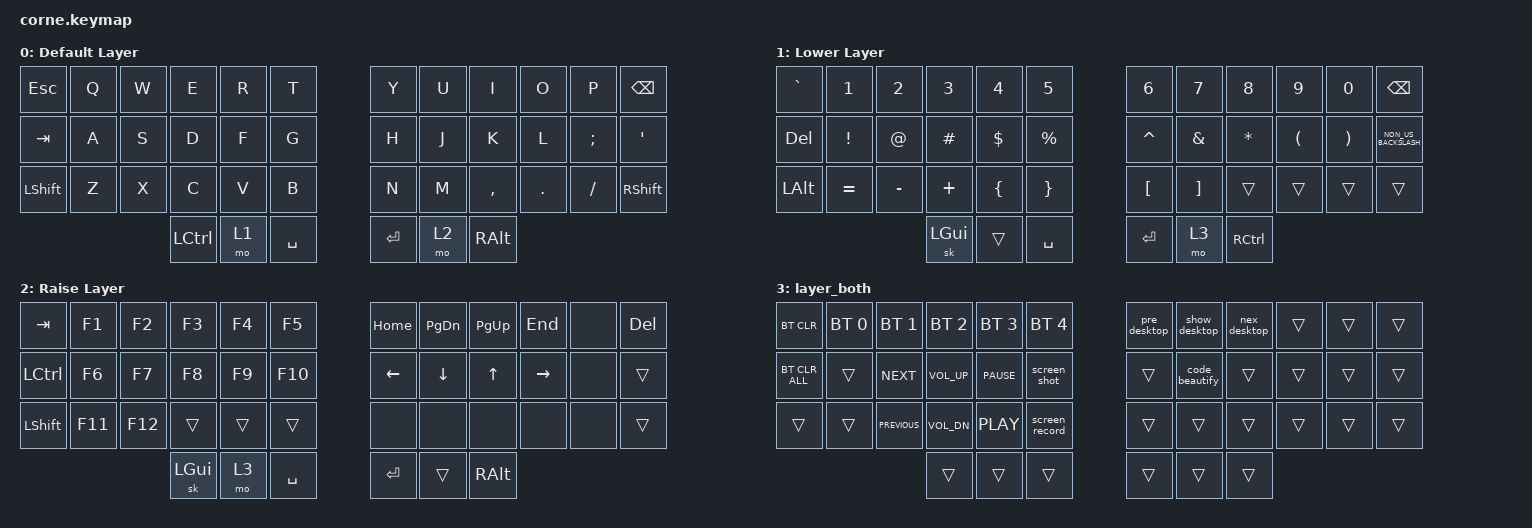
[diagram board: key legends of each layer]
/*
 * Copyright (c) 2020 The ZMK Contributors
 *
 * SPDX-License-Identifier: MIT
 */

#include <behaviors.dtsi>
#include <dt-bindings/zmk/bt.h>
#include <dt-bindings/zmk/keys.h>

/ {
    macros {
        code_beautify: code_beautify {
            compatible = "zmk,behavior-macro";
            #binding-cells = <0>;
            bindings = <&kp LA(LS(F))>;
            label = "CODE_BEAUTIFY";
        };

        pre_desktop: pre_desktop {
            compatible = "zmk,behavior-macro";
            #binding-cells = <0>;
            bindings = <&kp LC(LG(LEFT_ARROW))>;
            label = "PRE_DESKTOP";
        };

        nex_desktop: nex_desktop {
            compatible = "zmk,behavior-macro";
            #binding-cells = <0>;
            bindings = <&kp LG(LC(RIGHT_ARROW))>;
            label = "NEX_DESKTOP";
        };

        show_desktop: show_desktop {
            compatible = "zmk,behavior-macro";
            #binding-cells = <0>;
            bindings = <&kp LG(TAB)>;
            label = "SHOW_DESKTOP";
        };

        screen_shot: screen_shot {
            compatible = "zmk,behavior-macro";
            #binding-cells = <0>;
            bindings = <&kp LG(LS(S))>;
            label = "SCREEN_SHOT";
        };

        screen_record: screen_record {
            compatible = "zmk,behavior-macro";
            #binding-cells = <0>;
            bindings = <&kp LG(LS(R))>;
            label = "SCREEN_RECORD";
        };
    };

    behaviors {
        shiftNcapslock: shiftNcapslock {
            compatible = "zmk,behavior-tap-dance";
            label = "SHIFTNCAPSLOCK";
            #binding-cells = <0>;
            bindings = <&kp LEFT_SHIFT>, <&kp CAPS>;

            tapping-term-ms = <200>;
        };
    };

    keymap {
        compatible = "zmk,keymap";

        default_layer {
            display-name = "Default Layer";

            // -----------------------------------------------------------------------------------------
            // |  TAB |  Q  |  W  |  E  |  R  |  T  |   |  Y  |  U   |  I  |  O  |  P  | BSPC |
            // | CTRL |  A  |  S  |  D  |  F  |  G  |   |  H  |  J   |  K  |  L  |  ;  |  '   |
            // | SHFT |  Z  |  X  |  C  |  V  |  B  |   |  N  |  M   |  ,  |  .  |  /  | ESC  |
            //                    | GUI | LWR | SPC |   | ENT | RSE  | ALT |

            bindings = <
&kp ESC         &kp Q  &kp W  &kp E             &kp R  &kp T        &kp Y    &kp U  &kp I      &kp O    &kp P     &kp BSPC
&kp TAB         &kp A  &kp S  &kp D             &kp F  &kp G        &kp H    &kp J  &kp K      &kp L    &kp SEMI  &kp SQT
&kp LEFT_SHIFT  &kp Z  &kp X  &kp C             &kp V  &kp B        &kp N    &kp M  &kp COMMA  &kp DOT  &kp FSLH  &kp RIGHT_SHIFT
                              &kp LEFT_CONTROL  &mo 1  &kp SPACE    &kp RET  &mo 2  &kp RALT
            >;
        };

        layer_left {
            display-name = "Lower Layer";

            // -----------------------------------------------------------------------------------------
            // |  TAB |  1  |  2  |  3  |  4  |  5  |   |  6  |  7  |  8  |  9  |  0  | BSPC |
            // | BTCLR| BT1 | BT2 | BT3 | BT4 | BT5 |   | LFT | DWN |  UP | RGT |     |      |
            // | SHFT |     |     |     |     |     |   |     |     |     |     |     |      |
            //                    | GUI |     | SPC |   | ENT |     | ALT |

            bindings = <
&kp GRAVE     &kp N1           &kp N2       &kp N3    &kp N4          &kp N5             &kp N6            &kp N7             &kp N8        &kp N9                &kp N0                 &kp BSPC
&kp DEL       &kp EXCLAMATION  &kp AT_SIGN  &kp HASH  &kp DOLLAR      &kp PERCENT        &kp CARET         &kp AMPERSAND      &kp ASTERISK  &kp LEFT_PARENTHESIS  &kp RIGHT_PARENTHESIS  &kp NON_US_BACKSLASH
&kp LEFT_ALT  &kp EQUAL        &kp MINUS    &kp PLUS  &kp LEFT_BRACE  &kp RIGHT_BRACE    &kp LEFT_BRACKET  &kp RIGHT_BRACKET  &trans        &trans                &trans                 &trans
                                            &sk LGUI  &trans          &kp SPACE          &kp RET           &mo 3              &kp RCTRL
            >;
        };

        layer_right {
            display-name = "Raise Layer";

            // -----------------------------------------------------------------------------------------
            // |  TAB |  !  |  @  |  #  |  $  |  %  |   |  ^  |  &  |  *  |  (  |  )  | BSPC |
            // | CTRL |     |     |     |     |     |   |  -  |  =  |  [  |  ]  |  \  |  `   |
            // | SHFT |     |     |     |     |     |   |  _  |  +  |  {  |  }  | "|" |  ~   |
            //                    | GUI |     | SPC |   | ENT |     | ALT |

            bindings = <
&kp TAB    &kp F1   &kp F2   &kp F3    &kp F4  &kp F5       &kp HOME        &kp PAGE_DOWN   &kp PAGE_UP   &kp END          &none  &kp DELETE
&kp LCTRL  &kp F6   &kp F7   &kp F8    &kp F9  &kp F10      &kp LEFT_ARROW  &kp DOWN_ARROW  &kp UP_ARROW  &kp RIGHT_ARROW  &none  &trans
&kp LSHFT  &kp F11  &kp F12  &trans    &trans  &trans       &none           &none           &none         &none            &none  &trans
                             &sk LGUI  &mo 3   &kp SPACE    &kp RET         &trans          &kp RALT
            >;
        };

        layer_both {
            bindings = <
&bt BT_CLR      &bt BT_SEL 0  &bt BT_SEL 1    &bt BT_SEL 2     &bt BT_SEL 3  &bt BT_SEL 4      &pre_desktop  &show_desktop   &nex_desktop  &trans  &trans  &trans
&bt BT_CLR_ALL  &trans        &kp C_NEXT      &kp C_VOLUME_UP  &kp C_PAUSE   &screen_shot      &trans        &code_beautify  &trans        &trans  &trans  &trans
&trans          &trans        &kp C_PREVIOUS  &kp C_VOL_DN     &kp C_PLAY    &screen_record    &trans        &trans          &trans        &trans  &trans  &trans
                                              &trans           &trans        &trans            &trans        &trans          &trans
            >;
        };
    };
};
